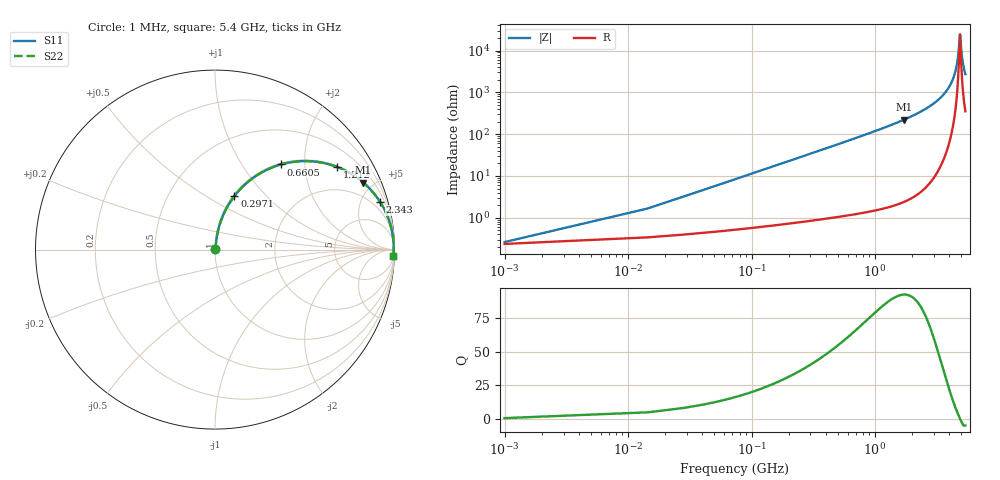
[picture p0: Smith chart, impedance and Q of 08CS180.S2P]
! Coilcraft 0805CS-180 Chip Inductor
! 11 June 2002
# MHZ S MA R 50
!Freq  MagS11  AngS11  MagS21  AngS21  MagS12  AngS12  MagS22  AngS22
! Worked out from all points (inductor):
!   403 points, 1 MHz to 5.4 GHz, reference 50 ohm
!   read as one part in series: L = 18 nH near 27.92 MHz
!   highest Q = 92.7 at 1.71 GHz (marker M1), where L = 20.5 nH
!   self-resonance near 4.874 GHz
!   S11 on the Smith chart (normalised r, x): 1 MHz: 1.00, +0.00; 297.1 MHz: 1.02, +0.67; 660.5 MHz: 1.02, +1.52; 1.212 GHz: 1.03, +2.92; 2.343 GHz: 1.08, +6.88; 5.4 GHz: 8, -54
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1  0.002619 25.5  0.9976 -0.1  0.9976 -0.1  0.002619 25.5
41.38  0.04675 82.0  0.9946 -2.7  0.9946 -2.7  0.04675 82.0
81.76  0.09177 81.4  0.9905 -5.3  0.9905 -5.3  0.09177 81.4
162.52  0.1799 77.6  0.9771 -10.4  0.9771 -10.4  0.1799 77.6
297.12  0.3173 70.1  0.9405 -18.5  0.9405 -18.5  0.3173 70.1
458.64  0.4601 61.5  0.8791 -27.4  0.8791 -27.4  0.4601 61.5
660.54  0.6011 52.2  0.7898 -36.9  0.7898 -36.9  0.6011 52.2
902.82  0.7218 43.0  0.6827 -46.2  0.6827 -46.2  0.7218 43.0
1212.4  0.8208 34.2  0.5617 -55.2  0.5617 -55.2  0.8208 34.2
1710.42  0.907 24.3  0.4114 -65.1  0.4114 -65.1  0.907 24.3
1804.64  0.9174 22.8  0.3881 -66.5  0.3881 -66.5  0.9174 22.8
2343.04  0.9572 16.1  0.2781 -73.2  0.2781 -73.2  0.9572 16.1
2706.46  0.9724 12.7  0.2201 -76.5  0.2201 -76.5  0.9724 12.7
3608.28  0.9908 6.3  0.1103 -82.1  0.1103 -82.1  0.9908 6.3
4146.68  0.9948 3.4  0.05933 -83.3  0.05933 -83.3  0.9948 3.4
4510.1  0.9959 1.6  0.02902 -81.0  0.02902 -81.0  0.9959 1.6
4698.54  0.996 0.8  0.01453 -73.6  0.01453 -73.6  0.996 0.8
4846.6  0.9959 0.2  0.004943 -34.5  0.004943 -34.5  0.9959 0.2
4886.98  0.9959 -0.0  0.004112 2.5  0.004112 2.5  0.9959 -0.0
5102.34  0.9955 -0.9  0.01631 73.6  0.01631 73.6  0.9955 -0.9
5236.94  0.9952 -1.4  0.02551 78.4  0.02551 78.4  0.9952 -1.4
5400  0.9946 -2.1  0.03648 80.5  0.03648 80.5  0.9946 -2.1
